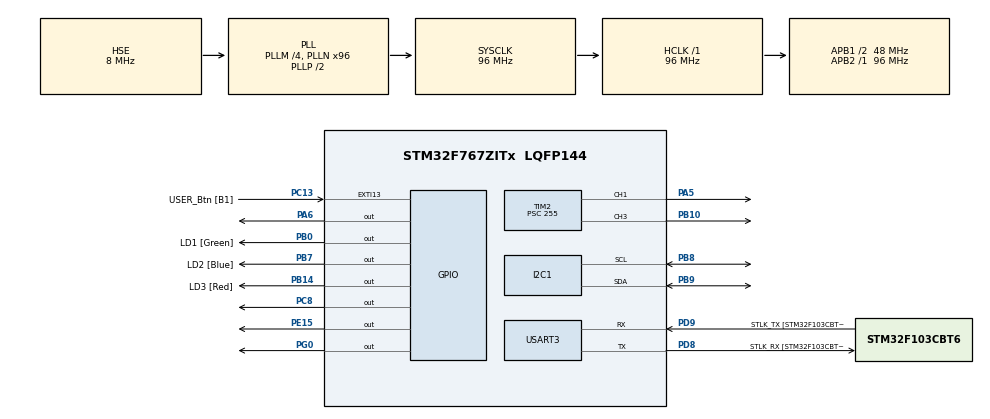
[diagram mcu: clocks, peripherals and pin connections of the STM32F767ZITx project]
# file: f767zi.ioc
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I2C1.Timing=0x20303E5D
Mcu.Family=STM32F7
Mcu.Name=STM32F767ZITx
Mcu.Package=LQFP144
NVIC.PriorityGroup=NVIC_PRIORITYGROUP_4
PA1.GPIO_Label=RMII_REF_CLK [LAN8742A-CZ-TR_REFCLK0]
PA1.Signal=ETH_REF_CLK
PA10.GPIO_Label=USB_ID
PA10.Signal=USB_OTG_FS_ID
PA11.GPIO_Label=USB_DM
PA11.Signal=USB_OTG_FS_DM
PA12.GPIO_Label=USB_DP
PA12.Signal=USB_OTG_FS_DP
PA13.GPIO_Label=TMS
PA13.Mode=Serial_Wire
PA13.Signal=SYS_JTMS-SWDIO
PA14.GPIO_Label=TCK
PA14.Mode=Serial_Wire
PA14.Signal=SYS_JTCK-SWCLK
PA2.GPIO_Label=RMII_MDIO [LAN8742A-CZ-TR_MDIO]
PA2.Signal=ETH_MDIO
PA5.Signal=S_TIM2_CH1_ETR
PA6.Signal=GPIO_Output
PA7.GPIO_Label=RMII_CRS_DV [LAN8742A-CZ-TR_CRS_DV]
PA7.Signal=ETH_CRS_DV
PA8.GPIO_Label=USB_SOF [TP1]
PA8.Signal=USB_OTG_FS_SOF
PA9.GPIO_Label=USB_VBUS
PA9.Signal=USB_OTG_FS_VBUS
PB0.GPIO_Label=LD1 [Green]
PB0.Signal=GPIO_Output
PB10.Signal=S_TIM2_CH3
PB11.Signal=S_TIM2_CH4
PB13.GPIO_Label=RMII_TXD1 [LAN8742A-CZ-TR_TXD1]
PB13.Signal=ETH_TXD1
PB14.GPIO_Label=LD3 [Red]
PB14.Signal=GPIO_Output
PB3.GPIO_Label=SWO
PB3.Signal=SYS_JTDO-SWO
PB7.GPIO_Label=LD2 [Blue]
PB7.Signal=GPIO_Output
PB8.Mode=I2C
PB8.Signal=I2C1_SCL
PB9.Mode=I2C
PB9.Signal=I2C1_SDA
PC1.GPIO_Label=RMII_MDC [LAN8742A-CZ-TR_MDC]
PC1.Signal=ETH_MDC
PC13.GPIO_Label=USER_Btn [B1]
PC13.Signal=GPXTI13
PC14/OSC32_IN.Mode=LSE-External-Oscillator
PC14/OSC32_IN.Signal=RCC_OSC32_IN
PC15/OSC32_OUT.Mode=LSE-External-Oscillator
PC15/OSC32_OUT.Signal=RCC_OSC32_OUT
PC4.GPIO_Label=RMII_RXD0 [LAN8742A-CZ-TR_RXD0]
PC4.Signal=ETH_RXD0
PC5.GPIO_Label=RMII_RXD1 [LAN8742A-CZ-TR_RXD1]
PC5.Signal=ETH_RXD1
PC8.PinState=GPIO_PIN_SET
PC8.Signal=GPIO_Output
PD8.GPIO_Label=STLK_RX [STM32F103CBT6_PA3]
PD8.Mode=Asynchronous
PD8.Signal=USART3_TX
PD9.GPIO_Label=STLK_TX [STM32F103CBT6_PA2]
PD9.Mode=Asynchronous
PD9.Signal=USART3_RX
PE15.Signal=GPIO_Output
PG0.PinState=GPIO_PIN_SET
PG0.Signal=GPIO_Output
PG11.GPIO_Label=RMII_TX_EN [LAN8742A-CZ-TR_TXEN]
PG11.Signal=ETH_TX_EN
PG13.GPIO_Label=RMII_TXD0 [LAN8742A-CZ-TR_TXD0]
PG13.Signal=ETH_TXD0
PH0/OSC_IN.GPIO_Label=MCO [STM32F103CBT6_PA8]
PH0/OSC_IN.Mode=HSE-External-Clock-Source
PH0/OSC_IN.Signal=RCC_OSC_IN
PH1/OSC_OUT.Mode=HSE-External-Clock-Source
PH1/OSC_OUT.Signal=RCC_OSC_OUT
ProjectManager.HeapSize=0x200
ProjectManager.StackSize=0x400
ProjectManager.TargetToolchain=STM32CubeIDE
RCC.48MHZClocksFreq_Value=24000000
RCC.AHBFreq_Value=96000000
RCC.APB1CLKDivider=RCC_HCLK_DIV2
RCC.APB1Freq_Value=48000000
RCC.APB1TimFreq_Value=96000000
RCC.APB2Freq_Value=96000000
RCC.APB2TimFreq_Value=96000000
RCC.CortexFreq_Value=96000000
RCC.HCLKFreq_Value=96000000
RCC.HSE_VALUE=8000000
RCC.HSI_VALUE=16000000
RCC.PLLM=4
RCC.PLLMUL=RCC_PLL_MUL9
RCC.PLLN=96
RCC.PLLQ=4
RCC.PLLSourceVirtual=RCC_PLLSOURCE_HSE
RCC.PRESCALERUSB=RCC_USBCLKSOURCE_PLL_DIV1_5
RCC.SYSCLKFreq_VALUE=96000000
RCC.SYSCLKSource=RCC_SYSCLKSOURCE_PLLCLK
RCC.SYSCLKSourceVirtual=RCC_SYSCLKSOURCE_PLLCLK
RCC.USBFreq_Value=48000000
RCC.VCOOutputFreq_Value=192000000
SH.S_TIM2_CH1_ETR.0=TIM2_CH1,PWM Generation1 CH1
SH.S_TIM2_CH3.0=TIM2_CH3,PWM Generation3 CH3
SH.S_TIM2_CH4.0=TIM2_CH4
TIM2.Channel-PWM\ Generation1\ CH1=TIM_CHANNEL_1
TIM2.Channel-PWM\ Generation3\ CH3=TIM_CHANNEL_3
TIM2.Period=9999
TIM2.Prescaler=255
TIM2.Pulse-PWM\ Generation1\ CH1=0
TIM2.Pulse-PWM\ Generation3\ CH3=0
USART3.VirtualMode-Asynchronous=VM_ASYNC
VP_TIM2_VS_ClockSourceINT.Mode=Internal
board=NUCLEO-F767ZI

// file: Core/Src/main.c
/* USER CODE BEGIN Header */
/**
  ******************************************************************************
  * @file           : main.c
  * @brief          : Main program body
  ******************************************************************************
  * @attention
  *
  * Copyright (c) 2022 STMicroelectronics.
  * All rights reserved.
  *
  * This software is licensed under terms that can be found in the LICENSE file
  * in the root directory of this software component.
  * If no LICENSE file comes with this software, it is provided AS-IS.
  *
  ******************************************************************************
  */
/* USER CODE END Header */
#include "main.h"

/* USER CODE BEGIN Includes */
#include <string.h>
#include <stdio.h>
#include <time.h>
#include <stdlib.h>
#include <math.h>
#include <stdarg.h>

/* USER CODE END Includes */

/* USER CODE BEGIN PD */
#define FLOAT_PRECISION 4
#define GAIN_FLOAT_PORECISION pow(10, FLOAT_PRECISION )

#define FRAND (float)rand()/(float)(RAND_MAX/0.1)

#ifdef __GNUC__
#define PUTCHAR_PROTOTYPE int __io_putchar(int ch)
#else
#define PUTCHAR_PROTOTYPE int fputc(int ch, FILE *f)
#endif

#define RAD_TO_DEG 57.295779513082320876798154814105

#define WHO_AM_I_REG 0x75
#define PWR_MGMT_1_REG 0x6B
#define SMPLRT_DIV_REG 0x19
#define ACCEL_CONFIG_REG 0x1C
#define ACCEL_XOUT_H_REG 0x3B
#define TEMP_OUT_H_REG 0x41
#define GYRO_CONFIG_REG 0x1B
#define GYRO_XOUT_H_REG 0x43

// Setup MPU6050
#define MPU6050_ADDR 0xD0
const double Accel_Z_corrector = 14418.0;

/* USER CODE END PD */

I2C_HandleTypeDef hi2c1;

TIM_HandleTypeDef htim2;

UART_HandleTypeDef huart3;

/* USER CODE BEGIN PV */
const uint16_t i2c_timeout = 100;
typedef struct
{

    int16_t Accel_X_RAW;
    int16_t Accel_Y_RAW;
    int16_t Accel_Z_RAW;
    double Ax;
    double Ay;
    double Az;

    int16_t Gyro_X_RAW;
    int16_t Gyro_Y_RAW;
    int16_t Gyro_Z_RAW;
    double Gx;
    double Gy;
    double Gz;

    float Temperature;

    double KalmanAngleX;
    double KalmanAngleY;
} MPU6050_t;

typedef struct
{
    double Q_angle;
    double Q_bias;
    double R_measure;
    double angle;
    double bias;
    double P[2][2];
} Kalman_t;

uint32_t timer;

Kalman_t KalmanX = {
    .Q_angle = 0.001f,
    .Q_bias = 0.003f,
    .R_measure = 0.03f};

Kalman_t KalmanY = {
    .Q_angle = 0.001f,
    .Q_bias = 0.003f,
    .R_measure = 0.03f,
};

typedef struct displayFloatToInt_s {
  int sign; /* 0 means positive, 1 means negative*/
  int  out_int;
  int  out_dec;
  int exp;
} displayFloatToInt_t;

/* USER CODE END PV */

void SystemClock_Config(void);
static void MX_GPIO_Init(void);
static void MX_USART3_UART_Init(void);
static void MX_TIM2_Init(void);
static void MX_I2C1_Init(void);
/* USER CODE BEGIN PFP */
void set_pwm(uint32_t duty_1, uint32_t duty_2);
void control_H_bridge(int8_t dir_1, uint16_t duty_1, int8_t dir_2, uint16_t duty_2);
void set_pin_pwm(GPIO_TypeDef *GPIOx, uint32_t PinMask, uint32_t Channel);

uint8_t MPU6050_Init(I2C_HandleTypeDef *I2Cx);

void MPU6050_Read_Accel(I2C_HandleTypeDef *I2Cx, MPU6050_t *DataStruct);

void MPU6050_Read_Gyro(I2C_HandleTypeDef *I2Cx, MPU6050_t *DataStruct);

void MPU6050_Read_All(I2C_HandleTypeDef *I2Cx, MPU6050_t *DataStruct);

double Kalman_getAngle(Kalman_t *Kalman, double newAngle, double newRate, double dt);

void printFloat(char *text, int dec_prec, int numberFloatToPrint, ...);

int sign(double v);

/* USER CODE END PFP */

int main(void)
{

  /* MCU Configuration--------------------------------------------------------*/

  /* Reset of all peripherals, Initializes the Flash interface and the Systick. */
  HAL_Init();

  /* Configure the system clock */
  SystemClock_Config();

  /* Initialize all configured peripherals */
  MX_GPIO_Init();
  MX_USART3_UART_Init();
  MX_TIM2_Init();
  MX_I2C1_Init();
  /* USER CODE BEGIN 2 */

  HAL_TIM_PWM_Start(&htim2, TIM_CHANNEL_1);
  HAL_TIM_PWM_Start(&htim2, TIM_CHANNEL_3);

  if (MPU6050_Init(&hi2c1) == 1) {
	printf("\nslave corretto\r\n\n");
  } else {
	printf("\nslave errato\r\n\n");
  }

  HAL_StatusTypeDef status = HAL_I2C_IsDeviceReady(&hi2c1, MPU6050_ADDR, 10, i2c_timeout);
  if (status == HAL_OK) {
	  printf("\n\n\n\nslave corretto\r\n\n\n\n\n");
  } else {
	  printf("\n\n\n\nslave errato\r\n\n\n\n\n");
  }

  MPU6050_t MPU6050;
  uint16_t count = 0;
  uint32_t start;
  printf("Initialization done\r\n");

  /* USER CODE END 2 */

  /* Infinite loop */
  /* USER CODE BEGIN WHILE */
  while (1)
  {

	  start = HAL_GetTick();

	  if (HAL_GPIO_ReadPin(GPIOC, GPIO_PIN_13) == 1) {
		  HAL_GPIO_TogglePin(GPIOB, GPIO_PIN_0);
	  } else {
		  HAL_GPIO_WritePin(GPIOB, GPIO_PIN_0, 0);
	  }

	  //https://github.com/leech001/MPU6050/tree/master/examples/STM32F401CCU6_MPU6050/Core/Src
	  MPU6050_Read_All(&hi2c1, &MPU6050);

//	  printFloat("pitch: (%), roll: (%)", 2, 2, MPU6050.KalmanAngleY, MPU6050.KalmanAngleX);
	  double measurement_pitch = MPU6050.KalmanAngleY + 90;

	  count++;
	  if (count > 100) {
		  count = 0;
		  printFloat("pitch: (%)", 2, 2, measurement_pitch);
		  //printFloat("gx: (%)", 2, 2, MPU6050.Gx);
		  printFloat("gy: (%)", 2, 2, MPU6050.Gy);
		  //printFloat("gz: (%)", 2, 2, MPU6050.Gz);

	  }

	  double ref = 0.0;
	  double error_p = ref - measurement_pitch;
	  double error_d = 0.0 - MPU6050.Gy;

	  int kp1 = 25;
	  int kp2 = 25;
	  double kd1 = 5;
	  double kd2 = 5;
	  double dt = HAL_GetTick() - start;

	  double duty_1 = error_p * kp1 + error_d * kd1 + error_p * dt;
	  double duty_2 = error_p * kp2 + error_d * kd2 + error_p * dt;

	  int8_t sign_1 = sign(duty_1);
	  int8_t sign_2 = sign(duty_2);

	  if (duty_1 > 100)
		  duty_1 = 100;

	  if (duty_2 > 100)
		  duty_2 = 100;

	  control_H_bridge(sign_1, abs(duty_1), sign_2, abs(duty_2));

//	  HAL_Delay(10);
	  while (HAL_GetTick() - start < 5) ;

    /* USER CODE END WHILE */

  }
}

void SystemClock_Config(void)
{
  RCC_OscInitTypeDef RCC_OscInitStruct = {0};
  RCC_ClkInitTypeDef RCC_ClkInitStruct = {0};

  /** Configure LSE Drive Capability
  */
  HAL_PWR_EnableBkUpAccess();
  /** Configure the main internal regulator output voltage
  */
  __HAL_RCC_PWR_CLK_ENABLE();
  __HAL_PWR_VOLTAGESCALING_CONFIG(PWR_REGULATOR_VOLTAGE_SCALE3);
  /** Initializes the RCC Oscillators according to the specified parameters
  * in the RCC_OscInitTypeDef structure.
  */
  RCC_OscInitStruct.OscillatorType = RCC_OSCILLATORTYPE_HSE;
  RCC_OscInitStruct.HSEState = RCC_HSE_BYPASS;
  RCC_OscInitStruct.PLL.PLLState = RCC_PLL_ON;
  RCC_OscInitStruct.PLL.PLLSource = RCC_PLLSOURCE_HSE;
  RCC_OscInitStruct.PLL.PLLM = 4;
  RCC_OscInitStruct.PLL.PLLN = 96;
  RCC_OscInitStruct.PLL.PLLP = RCC_PLLP_DIV2;
  RCC_OscInitStruct.PLL.PLLQ = 4;
  RCC_OscInitStruct.PLL.PLLR = 2;
  if (HAL_RCC_OscConfig(&RCC_OscInitStruct) != HAL_OK)
  {
    Error_Handler();
  }
  /** Activate the Over-Drive mode
  */
  if (HAL_PWREx_EnableOverDrive() != HAL_OK)
  {
    Error_Handler();
  }
  /** Initializes the CPU, AHB and APB buses clocks
  */
  RCC_ClkInitStruct.ClockType = RCC_CLOCKTYPE_HCLK|RCC_CLOCKTYPE_SYSCLK
                              |RCC_CLOCKTYPE_PCLK1|RCC_CLOCKTYPE_PCLK2;
  RCC_ClkInitStruct.SYSCLKSource = RCC_SYSCLKSOURCE_PLLCLK;
  RCC_ClkInitStruct.AHBCLKDivider = RCC_SYSCLK_DIV1;
  RCC_ClkInitStruct.APB1CLKDivider = RCC_HCLK_DIV2;
  RCC_ClkInitStruct.APB2CLKDivider = RCC_HCLK_DIV1;

  if (HAL_RCC_ClockConfig(&RCC_ClkInitStruct, FLASH_LATENCY_3) != HAL_OK)
  {
    Error_Handler();
  }
}

static void MX_I2C1_Init(void)
{

  hi2c1.Instance = I2C1;
  hi2c1.Init.Timing = 0x20303E5D;
  hi2c1.Init.OwnAddress1 = 0;
  hi2c1.Init.AddressingMode = I2C_ADDRESSINGMODE_7BIT;
  hi2c1.Init.DualAddressMode = I2C_DUALADDRESS_DISABLE;
  hi2c1.Init.OwnAddress2 = 0;
  hi2c1.Init.OwnAddress2Masks = I2C_OA2_NOMASK;
  hi2c1.Init.GeneralCallMode = I2C_GENERALCALL_DISABLE;
  hi2c1.Init.NoStretchMode = I2C_NOSTRETCH_DISABLE;
  if (HAL_I2C_Init(&hi2c1) != HAL_OK)
  {
    Error_Handler();
  }
  /** Configure Analogue filter
  */
  if (HAL_I2CEx_ConfigAnalogFilter(&hi2c1, I2C_ANALOGFILTER_ENABLE) != HAL_OK)
  {
    Error_Handler();
  }
  /** Configure Digital filter
  */
  if (HAL_I2CEx_ConfigDigitalFilter(&hi2c1, 0) != HAL_OK)
  {
    Error_Handler();
  }

}

static void MX_TIM2_Init(void)
{

  TIM_ClockConfigTypeDef sClockSourceConfig = {0};
  TIM_MasterConfigTypeDef sMasterConfig = {0};
  TIM_OC_InitTypeDef sConfigOC = {0};

  htim2.Instance = TIM2;
  htim2.Init.Prescaler = 255;
  htim2.Init.CounterMode = TIM_COUNTERMODE_UP;
  htim2.Init.Period = 9999;
  htim2.Init.ClockDivision = TIM_CLOCKDIVISION_DIV1;
  htim2.Init.AutoReloadPreload = TIM_AUTORELOAD_PRELOAD_DISABLE;
  if (HAL_TIM_Base_Init(&htim2) != HAL_OK)
  {
    Error_Handler();
  }
  sClockSourceConfig.ClockSource = TIM_CLOCKSOURCE_INTERNAL;
  if (HAL_TIM_ConfigClockSource(&htim2, &sClockSourceConfig) != HAL_OK)
  {
    Error_Handler();
  }
  if (HAL_TIM_PWM_Init(&htim2) != HAL_OK)
  {
    Error_Handler();
  }
  sMasterConfig.MasterOutputTrigger = TIM_TRGO_RESET;
  sMasterConfig.MasterSlaveMode = TIM_MASTERSLAVEMODE_DISABLE;
  if (HAL_TIMEx_MasterConfigSynchronization(&htim2, &sMasterConfig) != HAL_OK)
  {
    Error_Handler();
  }
  sConfigOC.OCMode = TIM_OCMODE_PWM1;
  sConfigOC.Pulse = 0;
  sConfigOC.OCPolarity = TIM_OCPOLARITY_HIGH;
  sConfigOC.OCFastMode = TIM_OCFAST_DISABLE;
  if (HAL_TIM_PWM_ConfigChannel(&htim2, &sConfigOC, TIM_CHANNEL_1) != HAL_OK)
  {
    Error_Handler();
  }
  if (HAL_TIM_PWM_ConfigChannel(&htim2, &sConfigOC, TIM_CHANNEL_3) != HAL_OK)
  {
    Error_Handler();
  }
  HAL_TIM_MspPostInit(&htim2);

}

static void MX_USART3_UART_Init(void)
{

  huart3.Instance = USART3;
  huart3.Init.BaudRate = 115200;
  huart3.Init.WordLength = UART_WORDLENGTH_8B;
  huart3.Init.StopBits = UART_STOPBITS_1;
  huart3.Init.Parity = UART_PARITY_NONE;
  huart3.Init.Mode = UART_MODE_TX_RX;
  huart3.Init.HwFlowCtl = UART_HWCONTROL_NONE;
  huart3.Init.OverSampling = UART_OVERSAMPLING_16;
  huart3.Init.OneBitSampling = UART_ONE_BIT_SAMPLE_DISABLE;
  huart3.AdvancedInit.AdvFeatureInit = UART_ADVFEATURE_NO_INIT;
  if (HAL_UART_Init(&huart3) != HAL_OK)
  {
    Error_Handler();
  }

}

static void MX_GPIO_Init(void)
{
  GPIO_InitTypeDef GPIO_InitStruct = {0};

  /* GPIO Ports Clock Enable */
  __HAL_RCC_GPIOC_CLK_ENABLE();
  __HAL_RCC_GPIOH_CLK_ENABLE();
  __HAL_RCC_GPIOA_CLK_ENABLE();
  __HAL_RCC_GPIOB_CLK_ENABLE();
  __HAL_RCC_GPIOG_CLK_ENABLE();
  __HAL_RCC_GPIOE_CLK_ENABLE();
  __HAL_RCC_GPIOD_CLK_ENABLE();

  /*Configure GPIO pin Output Level */
  HAL_GPIO_WritePin(GPIOA, GPIO_PIN_6, GPIO_PIN_RESET);

  /*Configure GPIO pin Output Level */
  HAL_GPIO_WritePin(GPIOB, LD1_Pin|LD3_Pin|LD2_Pin, GPIO_PIN_RESET);

  /*Configure GPIO pin Output Level */
  HAL_GPIO_WritePin(GPIOG, GPIO_PIN_0, GPIO_PIN_SET);

  /*Configure GPIO pin Output Level */
  HAL_GPIO_WritePin(GPIOE, GPIO_PIN_15, GPIO_PIN_RESET);

  /*Configure GPIO pin Output Level */
  HAL_GPIO_WritePin(GPIOC, GPIO_PIN_8, GPIO_PIN_SET);

  /*Configure GPIO pin : USER_Btn_Pin */
  GPIO_InitStruct.Pin = USER_Btn_Pin;
  GPIO_InitStruct.Mode = GPIO_MODE_IT_RISING;
  GPIO_InitStruct.Pull = GPIO_NOPULL;
  HAL_GPIO_Init(USER_Btn_GPIO_Port, &GPIO_InitStruct);

  /*Configure GPIO pins : RMII_MDC_Pin RMII_RXD0_Pin RMII_RXD1_Pin */
  GPIO_InitStruct.Pin = RMII_MDC_Pin|RMII_RXD0_Pin|RMII_RXD1_Pin;
  GPIO_InitStruct.Mode = GPIO_MODE_AF_PP;
  GPIO_InitStruct.Pull = GPIO_NOPULL;
  GPIO_InitStruct.Speed = GPIO_SPEED_FREQ_VERY_HIGH;
  GPIO_InitStruct.Alternate = GPIO_AF11_ETH;
  HAL_GPIO_Init(GPIOC, &GPIO_InitStruct);

  /*Configure GPIO pins : RMII_REF_CLK_Pin RMII_MDIO_Pin RMII_CRS_DV_Pin */
  GPIO_InitStruct.Pin = RMII_REF_CLK_Pin|RMII_MDIO_Pin|RMII_CRS_DV_Pin;
  GPIO_InitStruct.Mode = GPIO_MODE_AF_PP;
  GPIO_InitStruct.Pull = GPIO_NOPULL;
  GPIO_InitStruct.Speed = GPIO_SPEED_FREQ_VERY_HIGH;
  GPIO_InitStruct.Alternate = GPIO_AF11_ETH;
  HAL_GPIO_Init(GPIOA, &GPIO_InitStruct);

  /*Configure GPIO pin : PA6 */
  GPIO_InitStruct.Pin = GPIO_PIN_6;
  GPIO_InitStruct.Mode = GPIO_MODE_OUTPUT_PP;
  GPIO_InitStruct.Pull = GPIO_NOPULL;
  GPIO_InitStruct.Speed = GPIO_SPEED_FREQ_LOW;
  HAL_GPIO_Init(GPIOA, &GPIO_InitStruct);

  /*Configure GPIO pins : LD1_Pin LD3_Pin LD2_Pin */
  GPIO_InitStruct.Pin = LD1_Pin|LD3_Pin|LD2_Pin;
  GPIO_InitStruct.Mode = GPIO_MODE_OUTPUT_PP;
  GPIO_InitStruct.Pull = GPIO_NOPULL;
  GPIO_InitStruct.Speed = GPIO_SPEED_FREQ_LOW;
  HAL_GPIO_Init(GPIOB, &GPIO_InitStruct);

  /*Configure GPIO pin : PG0 */
  GPIO_InitStruct.Pin = GPIO_PIN_0;
  GPIO_InitStruct.Mode = GPIO_MODE_OUTPUT_PP;
  GPIO_InitStruct.Pull = GPIO_NOPULL;
  GPIO_InitStruct.Speed = GPIO_SPEED_FREQ_LOW;
  HAL_GPIO_Init(GPIOG, &GPIO_InitStruct);

  /*Configure GPIO pin : PE15 */
  GPIO_InitStruct.Pin = GPIO_PIN_15;
  GPIO_InitStruct.Mode = GPIO_MODE_OUTPUT_PP;
  GPIO_InitStruct.Pull = GPIO_NOPULL;
  GPIO_InitStruct.Speed = GPIO_SPEED_FREQ_LOW;
  HAL_GPIO_Init(GPIOE, &GPIO_InitStruct);

  /*Configure GPIO pin : RMII_TXD1_Pin */
  GPIO_InitStruct.Pin = RMII_TXD1_Pin;
  GPIO_InitStruct.Mode = GPIO_MODE_AF_PP;
  GPIO_InitStruct.Pull = GPIO_NOPULL;
  GPIO_InitStruct.Speed = GPIO_SPEED_FREQ_VERY_HIGH;
  GPIO_InitStruct.Alternate = GPIO_AF11_ETH;
  HAL_GPIO_Init(RMII_TXD1_GPIO_Port, &GPIO_InitStruct);

  /*Configure GPIO pin : PC8 */
  GPIO_InitStruct.Pin = GPIO_PIN_8;
  GPIO_InitStruct.Mode = GPIO_MODE_OUTPUT_PP;
  GPIO_InitStruct.Pull = GPIO_NOPULL;
  GPIO_InitStruct.Speed = GPIO_SPEED_FREQ_LOW;
  HAL_GPIO_Init(GPIOC, &GPIO_InitStruct);

  /*Configure GPIO pins : USB_SOF_Pin USB_ID_Pin USB_DM_Pin USB_DP_Pin */
  GPIO_InitStruct.Pin = USB_SOF_Pin|USB_ID_Pin|USB_DM_Pin|USB_DP_Pin;
  GPIO_InitStruct.Mode = GPIO_MODE_AF_PP;
  GPIO_InitStruct.Pull = GPIO_NOPULL;
  GPIO_InitStruct.Speed = GPIO_SPEED_FREQ_VERY_HIGH;
  GPIO_InitStruct.Alternate = GPIO_AF10_OTG_FS;
  HAL_GPIO_Init(GPIOA, &GPIO_InitStruct);

  /*Configure GPIO pin : USB_VBUS_Pin */
  GPIO_InitStruct.Pin = USB_VBUS_Pin;
  GPIO_InitStruct.Mode = GPIO_MODE_INPUT;
  GPIO_InitStruct.Pull = GPIO_NOPULL;
  HAL_GPIO_Init(USB_VBUS_GPIO_Port, &GPIO_InitStruct);

  /*Configure GPIO pins : RMII_TX_EN_Pin RMII_TXD0_Pin */
  GPIO_InitStruct.Pin = RMII_TX_EN_Pin|RMII_TXD0_Pin;
  GPIO_InitStruct.Mode = GPIO_MODE_AF_PP;
  GPIO_InitStruct.Pull = GPIO_NOPULL;
  GPIO_InitStruct.Speed = GPIO_SPEED_FREQ_VERY_HIGH;
  GPIO_InitStruct.Alternate = GPIO_AF11_ETH;
  HAL_GPIO_Init(GPIOG, &GPIO_InitStruct);

}

/* USER CODE BEGIN 4 */

void set_pin_pwm(GPIO_TypeDef *GPIOx, uint32_t PinMask, uint32_t Channel) {

}

uint8_t MPU6050_Init(I2C_HandleTypeDef *I2Cx)
{
    uint8_t check;
    uint8_t Data;

    // check device ID WHO_AM_I

    HAL_I2C_Mem_Read(I2Cx, MPU6050_ADDR, WHO_AM_I_REG, 1, &check, 1, i2c_timeout);

    if (check == 104) // 0x68 will be returned by the sensor if everything goes well
    {
        // power management register 0X6B we should write all 0's to wake the sensor up
        Data = 0;
        HAL_I2C_Mem_Write(I2Cx, MPU6050_ADDR, PWR_MGMT_1_REG, 1, &Data, 1, i2c_timeout);

        // Set DATA RATE of 1KHz by writing SMPLRT_DIV register
        Data = 0x07;
        HAL_I2C_Mem_Write(I2Cx, MPU6050_ADDR, SMPLRT_DIV_REG, 1, &Data, 1, i2c_timeout);

        // Set accelerometer configuration in ACCEL_CONFIG Register
        // XA_ST=0,YA_ST=0,ZA_ST=0, FS_SEL=0 -> � 2g
        Data = 0x00;
        HAL_I2C_Mem_Write(I2Cx, MPU6050_ADDR, ACCEL_CONFIG_REG, 1, &Data, 1, i2c_timeout);

        // Set Gyroscopic configuration in GYRO_CONFIG Register
        // XG_ST=0,YG_ST=0,ZG_ST=0, FS_SEL=0 -> � 250 �/s
        Data = 0x00;
        HAL_I2C_Mem_Write(I2Cx, MPU6050_ADDR, GYRO_CONFIG_REG, 1, &Data, 1, i2c_timeout);
        return 0;
    }
    return 1;
}

void MPU6050_Read_Accel(I2C_HandleTypeDef *I2Cx, MPU6050_t *DataStruct)
{
    uint8_t Rec_Data[6];

    // Read 6 BYTES of data starting from ACCEL_XOUT_H register

    HAL_I2C_Mem_Read(I2Cx, MPU6050_ADDR, ACCEL_XOUT_H_REG, 1, Rec_Data, 6, i2c_timeout);

    DataStruct->Accel_X_RAW = (int16_t)(Rec_Data[0] << 8 | Rec_Data[1]);
    DataStruct->Accel_Y_RAW = (int16_t)(Rec_Data[2] << 8 | Rec_Data[3]);
    DataStruct->Accel_Z_RAW = (int16_t)(Rec_Data[4] << 8 | Rec_Data[5]);

    /*** convert the RAW values into acceleration in 'g'
         we have to divide according to the Full scale value set in FS_SEL
         I have configured FS_SEL = 0. So I am dividing by 16384.0
         for more details check ACCEL_CONFIG Register              ****/

    DataStruct->Ax = DataStruct->Accel_X_RAW / 16384.0;
    DataStruct->Ay = DataStruct->Accel_Y_RAW / 16384.0;
    DataStruct->Az = DataStruct->Accel_Z_RAW / Accel_Z_corrector;
}

void MPU6050_Read_Gyro(I2C_HandleTypeDef *I2Cx, MPU6050_t *DataStruct)
{
    uint8_t Rec_Data[6];

    // Read 6 BYTES of data starting from GYRO_XOUT_H register

    HAL_I2C_Mem_Read(I2Cx, MPU6050_ADDR, GYRO_XOUT_H_REG, 1, Rec_Data, 6, i2c_timeout);

    DataStruct->Gyro_X_RAW = (int16_t)(Rec_Data[0] << 8 | Rec_Data[1]);
    DataStruct->Gyro_Y_RAW = (int16_t)(Rec_Data[2] << 8 | Rec_Data[3]);
    DataStruct->Gyro_Z_RAW = (int16_t)(Rec_Data[4] << 8 | Rec_Data[5]);

    /*** convert the RAW values into dps (�/s)
         we have to divide according to the Full scale value set in FS_SEL
         I have configured FS_SEL = 0. So I am dividing by 131.0
         for more details check GYRO_CONFIG Register              ****/

    DataStruct->Gx = DataStruct->Gyro_X_RAW / 131.0;
    DataStruct->Gy = DataStruct->Gyro_Y_RAW / 131.0;
    DataStruct->Gz = DataStruct->Gyro_Z_RAW / 131.0;
}

void MPU6050_Read_All(I2C_HandleTypeDef *I2Cx, MPU6050_t *DataStruct)
{
    uint8_t Rec_Data[14];
    int16_t temp;

    // Read 14 BYTES of data starting from ACCEL_XOUT_H register

    HAL_I2C_Mem_Read(I2Cx, MPU6050_ADDR, ACCEL_XOUT_H_REG, 1, Rec_Data, 14, i2c_timeout);

    DataStruct->Accel_X_RAW = (int16_t)(Rec_Data[0] << 8 | Rec_Data[1]);
    DataStruct->Accel_Y_RAW = (int16_t)(Rec_Data[2] << 8 | Rec_Data[3]);
    DataStruct->Accel_Z_RAW = (int16_t)(Rec_Data[4] << 8 | Rec_Data[5]);
    temp = (int16_t)(Rec_Data[6] << 8 | Rec_Data[7]);
    DataStruct->Gyro_X_RAW = (int16_t)(Rec_Data[8] << 8 | Rec_Data[9]);
    DataStruct->Gyro_Y_RAW = (int16_t)(Rec_Data[10] << 8 | Rec_Data[11]);
    DataStruct->Gyro_Z_RAW = (int16_t)(Rec_Data[12] << 8 | Rec_Data[13]);

    DataStruct->Ax = DataStruct->Accel_X_RAW / 16384.0;
    DataStruct->Ay = DataStruct->Accel_Y_RAW / 16384.0;
    DataStruct->Az = DataStruct->Accel_Z_RAW / Accel_Z_corrector;
    DataStruct->Temperature = (float)((int16_t)temp / (float)340.0 + (float)36.53);
    DataStruct->Gx = DataStruct->Gyro_X_RAW / 131.0;
    DataStruct->Gy = DataStruct->Gyro_Y_RAW / 131.0;
    DataStruct->Gz = DataStruct->Gyro_Z_RAW / 131.0;

    // Kalman angle solve
    double dt = (double)(HAL_GetTick() - timer) / 1000;
    timer = HAL_GetTick();
    double roll;
    double roll_sqrt = sqrt(
        DataStruct->Accel_X_RAW * DataStruct->Accel_X_RAW + DataStruct->Accel_Z_RAW * DataStruct->Accel_Z_RAW);
    if (roll_sqrt != 0.0)
    {
        roll = atan(DataStruct->Accel_Y_RAW / roll_sqrt) * RAD_TO_DEG;
    }
    else
    {
        roll = 0.0;
    }
    double pitch = atan2(-DataStruct->Accel_X_RAW, DataStruct->Accel_Z_RAW) * RAD_TO_DEG;
    if ((pitch < -90 && DataStruct->KalmanAngleY > 90) || (pitch > 90 && DataStruct->KalmanAngleY < -90))
    {
        KalmanY.angle = pitch;
        DataStruct->KalmanAngleY = pitch;
    }
    else
    {
        DataStruct->KalmanAngleY = Kalman_getAngle(&KalmanY, pitch, DataStruct->Gy, dt);
    }
    if (fabs(DataStruct->KalmanAngleY) > 90)
        DataStruct->Gx = -DataStruct->Gx;
    DataStruct->KalmanAngleX = Kalman_getAngle(&KalmanX, roll, DataStruct->Gx, dt);
}

double Kalman_getAngle(Kalman_t *Kalman, double newAngle, double newRate, double dt)
{
    double rate = newRate - Kalman->bias;
    Kalman->angle += dt * rate;

    Kalman->P[0][0] += dt * (dt * Kalman->P[1][1] - Kalman->P[0][1] - Kalman->P[1][0] + Kalman->Q_angle);
    Kalman->P[0][1] -= dt * Kalman->P[1][1];
    Kalman->P[1][0] -= dt * Kalman->P[1][1];
    Kalman->P[1][1] += Kalman->Q_bias * dt;

    double S = Kalman->P[0][0] + Kalman->R_measure;
    double K[2];
    K[0] = Kalman->P[0][0] / S;
    K[1] = Kalman->P[1][0] / S;

    double y = newAngle - Kalman->angle;
    Kalman->angle += K[0] * y;
    Kalman->bias += K[1] * y;

    double P00_temp = Kalman->P[0][0];
    double P01_temp = Kalman->P[0][1];

    Kalman->P[0][0] -= K[0] * P00_temp;
    Kalman->P[0][1] -= K[0] * P01_temp;
    Kalman->P[1][0] -= K[1] * P00_temp;
    Kalman->P[1][1] -= K[1] * P01_temp;

    return Kalman->angle;
}

void printFloat(char *text, int dec_prec, int numberFloatToPrint, ...){
        va_list par;
        va_start(par, numberFloatToPrint);

        displayFloatToInt_t* out_value = (displayFloatToInt_t*)malloc(sizeof(displayFloatToInt_t) * numberFloatToPrint);

        for (int i=0; i<numberFloatToPrint; i++){
                float val = (float)va_arg(par, double);
//              printf("val : %f\n", val);
                if(val > 0.0){
                        out_value[i].sign = 0;
                } else if (val == 0.0){
                        continue;
                } else {
                        out_value[i].sign = 1;
                        val *=-1; // = -in;
                }
                out_value[i].exp=0;
                while (val < 1.0){
                        out_value[i].exp++;
                        val *= 10;
                }
                out_value[i].out_int = val;
                val = val - (float)(out_value[i].out_int);
                out_value[i].out_dec = (int32_t)trunc(val * pow(10, dec_prec));
        }

        char toPrint[256]="";
        char number[64]="";
        int n_float=0, _index=0;
        for (int i=0; i<strlen(text); i++){
            if (text[i]=='%'){
				if (out_value[n_float].sign==0){
						sprintf(number, "%d.%d", out_value[n_float].out_int, out_value[n_float].out_dec);
				} else {
					sprintf(number, "-%d.%d", out_value[n_float].out_int, (int)out_value[n_float].out_dec);
				}

				if (out_value[n_float].exp > 0)
					sprintf(number, "%s x10^(-%d)", number, out_value[n_float].exp);
				n_float++;
                strcat(toPrint, number);
                _index+=strlen(number);
            } else {
            	toPrint[_index++] = text[i];
            }
        }
//        if (numberFloatToPrint!=n_float)
//                printf("Bad argument into printToFloat. Did you miss the %% ? \r\n");
        printf("%s\r\n", toPrint);
        free(out_value);
}

int sign(double v) {
	if (v > 0)
		return 1;
	if (v < 0)
		return -1;
	return 0;
}

void control_H_bridge(int8_t dir_1, uint16_t duty_1, int8_t dir_2, uint16_t duty_2) {
	// motore 1
	// direction pin: 	PG0, PE15
	// pwm pin:			PB10
	switch (dir_1) {
	case 1:
		HAL_GPIO_WritePin(GPIOG, GPIO_PIN_0, 0);
		HAL_GPIO_WritePin(GPIOE, GPIO_PIN_15, 1);
		break;
	case -1:
		HAL_GPIO_WritePin(GPIOG, GPIO_PIN_0, 1);
		HAL_GPIO_WritePin(GPIOE, GPIO_PIN_15, 0);
		break;
	default:
		printf("control_H_bridge input error. dir_1=%d\r\n", dir_1);
		while(1) ;
	}

	// motore 2
	// direction pin: 	PC8, PA6
	// pwm pin:			PA5
	switch (dir_2) {
	case 1:
		HAL_GPIO_WritePin(GPIOC, GPIO_PIN_8, 0);
		HAL_GPIO_WritePin(GPIOA, GPIO_PIN_6, 1);
		break;
	case -1:
		HAL_GPIO_WritePin(GPIOC, GPIO_PIN_8, 1);
		HAL_GPIO_WritePin(GPIOA, GPIO_PIN_6, 0);
		break;
	default:
		printf("control_H_bridge input error. dir_2=%d\r\n", dir_2);
		while(1) ;
	}

	set_pwm(duty_1, duty_2);
}

void set_pwm(uint32_t duty_1, uint32_t duty_2) {
	HAL_TIM_PWM_Stop(&htim2, TIM_CHANNEL_1);
	HAL_TIM_PWM_Stop(&htim2, TIM_CHANNEL_3);

	TIM_OC_InitTypeDef sConfigOC1 = {0};
	TIM_OC_InitTypeDef sConfigOC2 = {0};

	sConfigOC1.OCMode = TIM_OCMODE_PWM1;
//	sConfigOC1.Pulse = 93750;//htim2.Init.Period * duty_1 / 100;
	sConfigOC1.Pulse = (uint32_t)9999 * duty_1 / 100;
	sConfigOC1.OCPolarity = TIM_OCPOLARITY_HIGH;
	sConfigOC1.OCFastMode = TIM_OCFAST_DISABLE;
	if (HAL_TIM_PWM_ConfigChannel(&htim2, &sConfigOC1, TIM_CHANNEL_1) != HAL_OK)
	{
		Error_Handler();
	}

	HAL_TIM_PWM_Start(&htim2, TIM_CHANNEL_1);

	sConfigOC2.OCMode = TIM_OCMODE_PWM1;
//	sConfigOC2.Pulse = 93750;//htim2.Init.Period * duty_2 / 100;
	sConfigOC2.Pulse = (uint32_t)9999 * duty_2 / 100;
	sConfigOC2.OCPolarity = TIM_OCPOLARITY_HIGH;
	sConfigOC2.OCFastMode = TIM_OCFAST_DISABLE;

	//printf("ch1: %d. input: %d\r\n", sConfigOC1.Pulse, duty_1);
	//printf("ch2: %d. input: %d\r\n", sConfigOC2.Pulse, duty_2);

	if (HAL_TIM_PWM_ConfigChannel(&htim2, &sConfigOC2, TIM_CHANNEL_3) != HAL_OK)
	{
		Error_Handler();
	}
	HAL_TIM_PWM_Start(&htim2, TIM_CHANNEL_3);

}

PUTCHAR_PROTOTYPE
{
  HAL_UART_Transmit(&huart3, (uint8_t *)&ch, 1, 0xFFFF);

  return ch;
}

/* USER CODE END 4 */

void Error_Handler(void)
{
  __disable_irq();
  while (1)
  {
  }
}
